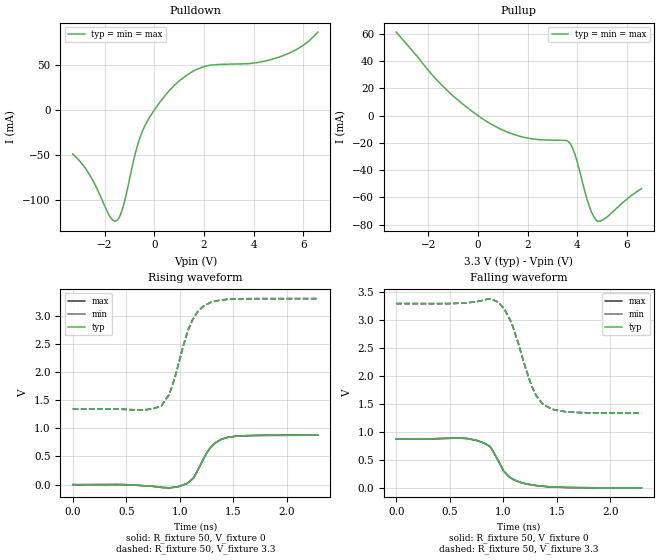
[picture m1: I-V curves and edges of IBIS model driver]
| IBIS file ex2_skewp_tr10ps.ibs created by PYS2IBIS3
| Missouri S&T EMC Lab
[IBIS Ver] 7.1
[File Name] ex2_skewp_tr10ps.ibs
[File Rev] 1.0
[Date] July 28, 2026
[Source] ex2 variant 'skewp' -- output PMOS at half width
[Notes] Parameter selection; sim_time=2.292e-09, tr=tf=1.000e-11.
[Disclaimer] Experimental characterization for pybis observability study.
[Component] MCM Driver 1
[Manufacturer] MegaFLOPS Inc.
[Package]
| variable   typ   min   max
R_pkg 0 NA NA
L_pkg 0H NA NA
C_pkg 0F NA NA
[Pin]  signal_name   model_name   R_pin   L_pin   C_pin
vdd   vdd   POWER
gnd   gnd   GND
| in in dummy
out   out   driver
| End of Component
| Models and submodels in the file (1): driver (Output)
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[Model] driver
Model_type Output
Polarity Non-Inverting
Enable Active-Low
Vinl  = 0.8V
Vinh  = 2V
C_comp 5.0000pF 5.0000pF 5.0000pF
[Temperature Range] 27.0000 27.0000 27.0000
[Voltage Range] 3.3000V 3.3000V 3.3000V
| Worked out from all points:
|   slope of the pulldown table from 0 to 0.495 V, typ, clamps not added: 27.4 ohm
|   slope of the pullup table from 0 to 0.495 V, typ, clamps not added: 85.1 ohm
|   rising waveform, R_fixture 50, V_fixture 0: 20-80 % time 166ps typ, 165ps min, 165ps max; typ from 0 V to 0.876 V
|   rising waveform, R_fixture 50, V_fixture 3.3: 20-80 % time 191ps typ, 190ps min, 190ps max; typ from 1.34 V to 3.3 V
|   falling waveform, R_fixture 50, V_fixture 0: 20-80 % time 186ps typ, 183ps min, 183ps max; typ from 0.876 V to 0 V
|   falling waveform, R_fixture 50, V_fixture 3.3: 20-80 % time 202ps typ, 202ps min, 202ps max; typ from 3.3 V to 1.34 V
[Pulldown]
| Voltage   I(typ)   I(min)   I(max)
-3.3V     -48.93mA   -48.93mA   -48.93mA
-2.6V     -72.86mA   -72.86mA   -72.86mA
-1.8V     -118.2mA   -118.2mA   -118.2mA
-1.5V     -122.5mA   -122.5mA   -122.5mA
-1.3V     -110.9mA   -110.9mA   -110.9mA
-800mV    -51.3mA    -51.3mA    -51.3mA
-500mV    -24.59mA   -24.59mA   -24.59mA
100mV     4.004mA    4.004mA    4.004mA
900mV     29.68mA    29.68mA    29.68mA
2.1V      48.76mA    48.76mA    48.76mA
5.1V      59.31mA    59.31mA    59.31mA
6.6V      86.45mA    86.45mA    86.45mA
[Pullup]
| Voltage   I(typ)   I(min)   I(max)
-3.3V     61.37mA    61.37mA    61.37mA
-1.4V     21.26mA    21.26mA    21.26mA
-600mV    8.306mA    8.306mA    8.306mA
300mV     -3.662mA   -3.662mA   -3.662mA
1.7V      -15.2mA    -15.2mA    -15.2mA
3.6V      -18.41mA   -18.41mA   -18.41mA
3.7V      -19.94mA   -19.94mA   -19.94mA
3.9V      -27.54mA   -27.54mA   -27.54mA
4.5V      -66.93mA   -66.93mA   -66.93mA
4.8V      -77.41mA   -77.41mA   -77.41mA
5.1V      -75.86mA   -75.86mA   -75.86mA
6.6V      -53.64mA   -53.64mA   -53.64mA
[Ramp]
| variable   typ   min   max
dV/dt_r 0.5258/0.1654n 0.5258/0.1649n 0.5258/0.1649n
dV/dt_f 1.1766/0.2023n 1.1766/0.2021n 1.1766/0.2021n
R_load = 50
[Rising Waveform]
R_fixture = 50
V_fixture = 0
|time   V(typ)   V(min)   V(max)
0s        3.917nV    3.917nV    3.917nV
463.5ps   2.152mV    1.385mV    1.385mV
977.5ps   -42.67mV   -41.77mV   -41.77mV
1.069ns   19.84mV    20.76mV    20.76mV
1.129ns   111.5mV    118.9mV    118.9mV
1.237ns   508.1mV    516.5mV    516.5mV
1.28ns    636.9mV    642.5mV    642.5mV
1.386ns   799.4mV    802.4mV    802.4mV
1.627ns   869.4mV    869.4mV    869.4mV
2.292ns   876.3mV    876.3mV    876.3mV
[Rising Waveform]
R_fixture = 50
V_fixture = 3.3
|time   V(typ)   V(min)   V(max)
0s        1.338V     1.338V     1.338V
667.7ps   1.326V     1.326V     1.326V
828.3ps   1.4V       1.397V     1.397V
899.5ps   1.58V      1.597V     1.597V
956.8ps   1.894V     1.914V     1.914V
1.076ns   2.718V     2.736V     2.736V
1.115ns   2.895V     2.907V     2.907V
1.166ns   3.057V     3.063V     3.063V
1.292ns   3.233V     3.236V     3.236V
2.292ns   3.3V       3.3V       3.3V
[Falling Waveform]
R_fixture = 50
V_fixture = 0
|time   V(typ)   V(min)   V(max)
0s        876.4mV    876.4mV    876.4mV
580.5ps   890.4mV    891.3mV    891.3mV
810ps     812.5mV    810.7mV    810.7mV
878.8ps   734.8mV    735.2mV    735.2mV
949.9ps   510.6mV    498mV      498mV
1ns       315.3mV    306.4mV    306.4mV
1.049ns   213mV      205.9mV    205.9mV
1.2ns     77.14mV    75.49mV    75.49mV
1.452ns   14.98mV    15.24mV    15.24mV
2.292ns   81.44uV    78.58uV    78.58uV
[Falling Waveform]
R_fixture = 50
V_fixture = 3.3
|time   V(typ)   V(min)   V(max)
0s        3.3V       3.3V       3.3V
580.5ps   3.304V     3.304V     3.304V
878.8ps   3.386V     3.389V     3.389V
949.9ps   3.332V     3.328V     3.328V
1.007ns   3.214V     3.207V     3.207V
1.078ns   2.963V     2.95V      2.95V
1.26ns    1.864V     1.849V     1.849V
1.37ns    1.504V     1.5V       1.5V
1.583ns   1.363V     1.363V     1.363V
2.292ns   1.339V     1.339V     1.339V
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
